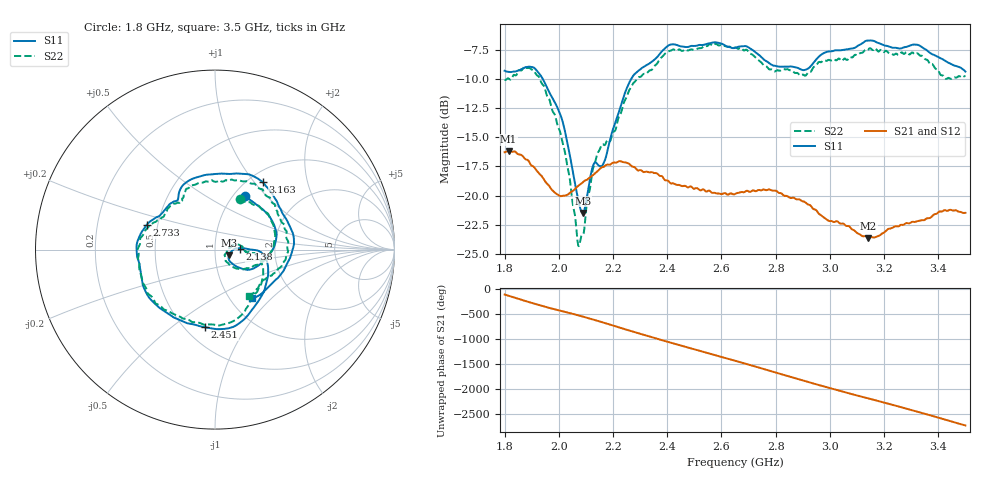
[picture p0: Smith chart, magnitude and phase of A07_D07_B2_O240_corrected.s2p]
! Created with skrf 1.9.0 (http://scikit-rf.org).
# Hz S RI R 50.0
!freq ReS11 ImS11 ReS21 ImS21 ReS12 ImS12 ReS22 ImS22
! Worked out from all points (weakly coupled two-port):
!   1601 points, 1.8 GHz to 3.5 GHz, reference 50 ohm
!   highest |S21| = -16.19 dB at 1.815 GHz (marker M1); lowest = -23.6 dB at 3.142 GHz (marker M2)
!   lowest |S11| = -21.5 dB at 2.088 GHz (marker M3), VSWR 1.18, Z = 58.4 - j3.63 ohm
!   |S11| at or under -10 dB: 1.941 GHz to 2.267 GHz (326 MHz wide, 15.5 % of centre)
!   |S22| runs from -24.3 to -7.0 dB; largest |S21 - S12| = 0.003
!   S11 on the Smith chart (normalised r, x): 1.8 GHz: 1.12, +0.76; 2.138 GHz: 1.32, +0.01; 2.451 GHz: 0.62, -0.66; 2.733 GHz: 0.43, +0.14; 3.163 GHz: 1.16, +1.11; 3.5 GHz: 1.26, -0.77
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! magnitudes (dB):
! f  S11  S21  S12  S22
! 1.8 GHz  -9.3  -16.3  -16.3  -10.1
! 1.815 GHz  -9.4  -16.2  -16.2  -10.0
! 1.881 GHz  -9.0  -16.9  -16.9  -9.1
! 1.943 GHz  -10.1  -18.5  -18.5  -10.6
! 2.013 GHz  -13.5  -20.0  -20.0  -15.3
! 2.069 GHz  -20.0  -19.2  -19.2  -23.9
! 2.084 GHz  -21.4  -19.0  -18.9  -23.5
! 2.088 GHz  -21.5  -18.9  -18.9  -23.4
! 2.138 GHz  -17.2  -18.0  -18.0  -16.8
! 2.168 GHz  -17.1  -17.5  -17.5  -15.7
! 2.268 GHz  -10.0  -17.5  -17.4  -10.7
! 2.367 GHz  -8.0  -18.2  -18.2  -8.5
! 2.451 GHz  -7.2  -19.2  -19.2  -7.6
! 2.65 GHz  -7.3  -19.9  -19.8  -7.3
! 2.733 GHz  -7.9  -19.6  -19.6  -8.3
! 2.934 GHz  -8.8  -21.0  -21.0  -9.2
! 3.142 GHz  -6.7  -23.6  -23.5  -7.5
! 3.163 GHz  -6.7  -23.6  -23.6  -7.4
! 3.217 GHz  -7.2  -22.8  -22.8  -7.8
! 3.326 GHz  -7.1  -22.2  -22.2  -7.8
! 3.427 GHz  -8.5  -21.3  -21.3  -10.0
! 3.5 GHz  -9.4  -21.5  -21.5  -9.8
